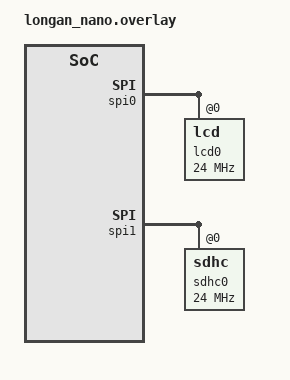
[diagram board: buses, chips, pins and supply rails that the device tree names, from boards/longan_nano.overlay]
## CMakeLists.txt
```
# SPDX-License-Identifier: Apache-2.0

cmake_minimum_required(VERSION 3.20.0)
find_package(Zephyr REQUIRED HINTS $ENV{ZEPHYR_BASE})
project(longan_nano)

FILE(GLOB app_sources src/*.c)
target_sources(app PRIVATE ${app_sources})
```

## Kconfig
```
# Copyright (c) 2022 TOKITA Hiroshi <tokita.hiroshi@gmail.com>
# SPDX-License-Identifier: Apache-2.0

config FS_MOUNT_POINT
        string "mount point of filesystem"
        default "/SD:"

config INTERVAL_TO_NEXT_ANIMATION
	int "interval until to start next animation in ms"
	default 1500

config ANIMATION_DATA_0
	string "animation data 0"

config ANIMATION_DATA_1
	string "animation data 1"

config ANIMATION_DATA_2
	string "animation data 2"

config ANIMATION_DATA_3
	string "animation data 3"

config ANIMATION_DATA_4
	string "animation data 4"

config ANIMATION_DATA_5
	string "animation data 5"

config ANIMATION_DATA_6
	string "animation data 6"

config ANIMATION_DATA_7
	string "animation data 7"

config ANIMATION_DATA_8
	string "animation data 8"

config ANIMATION_DATA_9
	string "animation data 9"


source "Kconfig.zephyr"
```

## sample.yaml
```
sample:
  name: Longan Nano example
tests:
  sample.board.longan_nano:
    platform_allow: longan_nano
    tags: ec
  sample.board.longan_nano_lite:
    platform_allow: longan_nano_lite
    tags: ec
```

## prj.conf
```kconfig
CONFIG_MAIN_STACK_SIZE=1536
CONFIG_HEAP_MEM_POOL_SIZE=16384
CONFIG_DISPLAY=y
CONFIG_DISK_ACCESS=y
CONFIG_FILE_SYSTEM=y
CONFIG_FAT_FILESYSTEM_ELM=y

CONFIG_ANIMATION_DATA_0="logo.bin"
CONFIG_ANIMATION_DATA_1="bmp.bin"

CONFIG_SPI_GD32_DMA=y
CONFIG_DMA=y

CONFIG_DEBUG=y
```

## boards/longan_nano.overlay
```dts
&dma0 {
        status = "okay";
};

&spi0 {
        dmas = <&dma0 1 0>, <&dma0 2 2>;
        dma-names = "rx", "tx";

        lcd0: lcd@0 {
                spi-max-frequency = <24000000>;
        };
};

&spi1 {
        dmas =  <&dma0 3 0>, <&dma0 4 2>;
        dma-names = "rx", "tx";

        sdhc0: sdhc@0 {
                spi-max-frequency = <24000000>;
        };
};
```

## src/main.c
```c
/*
 * Copyright (c) 2022 TOKITA Hiroshi <tokita.hiroshi@gmail.com>
 *
 * SPDX-License-Identifier: Apache-2.0
 */

#include <stdio.h>
#include <stdlib.h>
#include <string.h>

#include <zephyr/device.h>
#include <zephyr/drivers/display.h>
#include <zephyr/drivers/gpio.h>
#include <zephyr/fs/fs.h>
#include <zephyr/storage/disk_access.h>

#include <ff.h>

static const char *anim_data[] = {CONFIG_FS_MOUNT_POINT "/" CONFIG_ANIMATION_DATA_0,
				  CONFIG_FS_MOUNT_POINT "/" CONFIG_ANIMATION_DATA_1};

static FATFS fat_fs;
static struct fs_mount_t mountpoint = {
	.type = FS_FATFS,
	.fs_data = &fat_fs,
	.mnt_point = CONFIG_FS_MOUNT_POINT,
};

static struct display_buffer_descriptor descriptor;
static struct display_capabilities capabilities;

static const struct gpio_dt_spec led = GPIO_DT_SPEC_GET(DT_ALIAS(led0), gpios);

int mount_disk_and_check_files(struct fs_mount_t *mp, const char **anim_data, size_t file_num)
{
	struct fs_dirent ent;
	int res;

	printk("Mounting disk...\n");

	res = fs_mount(mp);
	if (res != FR_OK) {
		printk("Error mounting disk.\n");
	}

	printk("Disk mounted.\n");

	printk("Checking files...\n");

	for (size_t i = 0; i < file_num; i++) {
		res = fs_stat(anim_data[i], &ent);
		if (res < 0) {
			return res;
		}
	}

	printk("All files exists.\n");

	return 0;
}

static uint8_t *setup_display_and_buffer(const struct device *disp,
					 struct display_buffer_descriptor *desc,
					 struct display_capabilities *caps, size_t buf_size)
{
	size_t depth;
	uint8_t *buf = NULL;
	size_t transfer_size;

	display_get_capabilities(disp, caps);
	printk("display_capabilities %p %p %p\n", disp, desc, caps);

	switch (caps->current_pixel_format) {
	case PIXEL_FORMAT_RGB_888:
	case PIXEL_FORMAT_ARGB_8888:
		depth = 4;
		break;
	case PIXEL_FORMAT_RGB_565:
	case PIXEL_FORMAT_BGR_565:
		depth = 2;
		break;
	default:
		printk("pixel format not supported\n");
		return NULL;
	}

	transfer_size = caps->y_resolution * caps->x_resolution * depth;
	for (; transfer_size > buf_size; transfer_size /= 2) {
	}

	desc->pitch = caps->x_resolution;
	desc->width = caps->x_resolution;
	desc->height = transfer_size / (caps->x_resolution * depth);
	desc->buf_size = desc->height * caps->x_resolution * depth;
	printk("buffer_descriptor width=%d height=%d buf_size=%d\n", desc->width, desc->height,
	       desc->buf_size);

	buf = k_malloc(desc->buf_size);
	if (buf == NULL) {
		printk("Could not allocate memory. Aborting sample.\n");
		return NULL;
	}

	(void)memset(buf, 0xFFu, buf_size);

	printk("clear display\n");
	for (size_t y = 0; y < caps->y_resolution; y += desc->height) {
		display_write(disp, 0, y, desc, buf);
	}

	printk("display_blanking_off\n");
	display_blanking_off(disp);

	printk("Display ready. buf=%p\n", buf);

	return buf;
}

static int play_animation(const struct device *disp, struct display_buffer_descriptor *desc,
			  struct display_capabilities *caps, const char *filename, uint8_t *buf)
{
	struct fs_file_t file;
	struct fs_dirent ent;
	int res;

	fs_file_t_init(&file);

	res = fs_stat(filename, &ent);
	if (res < 0) {
		printk("fs stat() failed %d\n", res);
		return res;
	}

	res = fs_open(&file, filename, FS_O_READ);
	if (res < 0) {
		printk("fs open() failed %d\n", res);
		return res;
	}

	printk("File opend.\n");

	for (off_t offset = 0; offset < ent.size;) {
		for (size_t y = 0; y < caps->y_resolution; y += desc->height) {
			res = fs_read(&file, buf, desc->buf_size);
			if (res < 0 || res != desc->buf_size) {
				goto on_error;
			} else if (res != desc->buf_size) {
				res = -1;
				goto on_error;
			}

			display_write(disp, 0, y, desc, buf);
			offset += desc->buf_size;

			gpio_pin_toggle_dt(&led);
		}
	}
on_error:
	printk("fs_close %d\n", res);
	fs_close(&file);
	return res;
}

void main(void)
{
	const struct device *disp;
	size_t anim_count = 0;
	size_t anim_max = 0;
	uint8_t *buf;
	int res;

	for (size_t i = 0; i < ARRAY_SIZE(anim_data); i++) {
		if (strlen(anim_data[i]) == strlen(CONFIG_FS_MOUNT_POINT "/")) {
			break;
		}
		anim_max++;
	}
	printk("%d animation data available.\n", anim_max);

	disp = DEVICE_DT_GET(DT_CHOSEN(zephyr_display));
	if (!device_is_ready(disp)) {
		printk("Device %s not ready. Aborting sample.\n", disp->name);
		return;
	}

	if (!device_is_ready(led.port)) {
		printk("Device %s not found. Aborting sample.\n", led.port->name);
		goto on_error;
	}

	res = gpio_pin_configure_dt(&led, GPIO_OUTPUT_ACTIVE);
	if (res < 0) {
		goto on_error;
	}

	buf = setup_display_and_buffer(disp, &descriptor, &capabilities, CONFIG_HEAP_MEM_POOL_SIZE);
	if (!buf) {
		printk("setup_display_and_buffer() failed.\n");
		goto on_error;
	}

	res = mount_disk_and_check_files(&mountpoint, anim_data, anim_max);
	if (res < 0) {
		printk("mount_disk_and_check_files() failed %d.\n", res);
		goto on_error;
	}

	anim_count = 0;
	while (1) {
		res = play_animation(disp, &descriptor, &capabilities,
				     anim_data[anim_count % anim_max], buf);
		if (res < 0) {
			printk("play_animation error %d\n", res);
			goto on_error;
		}
		anim_count++;

		k_msleep(CONFIG_INTERVAL_TO_NEXT_ANIMATION);
	}

on_error:
	while (1) {
	}

	return;
}
```
